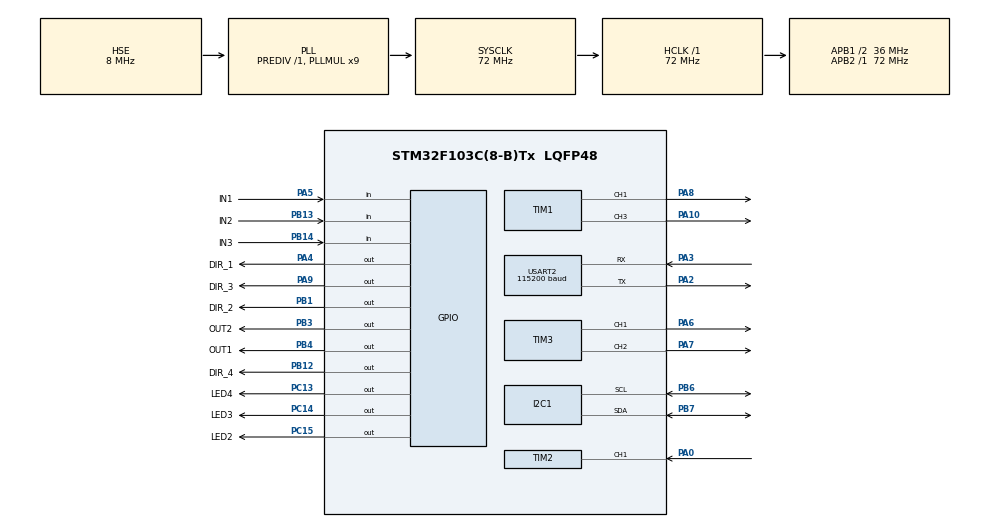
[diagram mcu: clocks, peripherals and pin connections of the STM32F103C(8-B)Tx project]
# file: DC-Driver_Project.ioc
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Dma.Request0=TIM2_CH1
Dma.TIM2_CH1.0.Direction=DMA_PERIPH_TO_MEMORY
Dma.TIM2_CH1.0.Instance=DMA1_Channel5
Dma.TIM2_CH1.0.MemDataAlignment=DMA_MDATAALIGN_HALFWORD
Dma.TIM2_CH1.0.MemInc=DMA_MINC_ENABLE
Dma.TIM2_CH1.0.Mode=DMA_CIRCULAR
Dma.TIM2_CH1.0.PeriphDataAlignment=DMA_PDATAALIGN_HALFWORD
Dma.TIM2_CH1.0.PeriphInc=DMA_PINC_DISABLE
Dma.TIM2_CH1.0.Priority=DMA_PRIORITY_LOW
FREERTOS.HEAP_NUMBER=4
FREERTOS.Tasks01=IOTask,24,128,StartIOTask,Default,NULL,Dynamic,NULL,NULL;UartTask,40,128,StartUartTask,Default,NULL,Dynamic,NULL,NULL;MotorTask,24,128,StartMotorTask,Default,NULL,Dynamic,NULL,NULL;VisibleTask,26,128,StartVisibleTask,Default,NULL,Dynamic,NULL,NULL;EncoderTask,8,128,StartEncoderTask,Default,NULL,Dynamic,NULL,NULL
FREERTOS.configTOTAL_HEAP_SIZE=4096
Mcu.Family=STM32F1
Mcu.Name=STM32F103C(8-B)Tx
Mcu.Package=LQFP48
NVIC.DMA1_Channel5_IRQn=true\:5\:0\:false\:false\:true\:true\:false\:true\:true
NVIC.I2C1_ER_IRQn=true\:5\:0\:false\:false\:true\:true\:true\:true\:true
NVIC.I2C1_EV_IRQn=true\:5\:0\:false\:false\:true\:true\:true\:true\:true
NVIC.PriorityGroup=NVIC_PRIORITYGROUP_4
NVIC.RCC_IRQn=true\:5\:0\:false\:false\:true\:true\:true\:false\:true
NVIC.TIM1_BRK_IRQn=true\:5\:0\:false\:false\:true\:true\:true\:true\:true
NVIC.TIM1_CC_IRQn=true\:5\:0\:false\:false\:true\:true\:true\:true\:true
NVIC.TIM1_UP_IRQn=true\:5\:0\:false\:false\:true\:true\:true\:true\:true
NVIC.TIM2_IRQn=true\:5\:0\:false\:false\:true\:true\:true\:true\:true
NVIC.TIM3_IRQn=true\:5\:0\:false\:false\:true\:true\:true\:true\:true
NVIC.USART2_IRQn=true\:5\:0\:false\:false\:true\:true\:true\:true\:true
PA0-WKUP.Signal=S_TIM2_CH1_ETR
PA10.Signal=S_TIM1_CH3
PA13.Mode=Serial_Wire
PA13.Signal=SYS_JTMS-SWDIO
PA14.Mode=Serial_Wire
PA14.Signal=SYS_JTCK-SWCLK
PA2.Mode=Asynchronous
PA2.Signal=USART2_TX
PA3.Mode=Asynchronous
PA3.Signal=USART2_RX
PA4.GPIO_Label=DIR_1
PA4.Signal=GPIO_Output
PA5.GPIO_Label=IN1
PA5.Signal=GPIO_Input
PA6.Signal=S_TIM3_CH1
PA7.Signal=S_TIM3_CH2
PA8.Signal=S_TIM1_CH1
PA9.GPIO_Label=DIR_3
PA9.Signal=GPIO_Output
PB1.GPIO_Label=DIR_2
PB1.Signal=GPIO_Output
PB12.GPIO_Label=DIR_4
PB12.Signal=GPIO_Output
PB13.GPIO_Label=IN2
PB13.Signal=GPIO_Input
PB14.GPIO_Label=IN3
PB14.Signal=GPIO_Input
PB3.GPIO_Label=OUT2
PB3.Signal=GPIO_Output
PB4.GPIO_Label=OUT1
PB4.Signal=GPIO_Output
PB6.Mode=I2C
PB6.Signal=I2C1_SCL
PB7.Mode=I2C
PB7.Signal=I2C1_SDA
PC13-TAMPER-RTC.GPIO_Label=LED4
PC13-TAMPER-RTC.Signal=GPIO_Output
PC14-OSC32_IN.GPIO_Label=LED3
PC14-OSC32_IN.Signal=GPIO_Output
PC15-OSC32_OUT.GPIO_Label=LED2
PC15-OSC32_OUT.Signal=GPIO_Output
PD0-OSC_IN.Mode=HSE-External-Oscillator
PD0-OSC_IN.Signal=RCC_OSC_IN
PD1-OSC_OUT.Mode=HSE-External-Oscillator
PD1-OSC_OUT.Signal=RCC_OSC_OUT
ProjectManager.HeapSize=0x200
ProjectManager.StackSize=0x400
ProjectManager.TargetToolchain=STM32CubeIDE
RCC.AHBFreq_Value=72000000
RCC.APB1CLKDivider=RCC_HCLK_DIV2
RCC.APB1Freq_Value=36000000
RCC.APB1TimFreq_Value=72000000
RCC.APB2Freq_Value=72000000
RCC.APB2TimFreq_Value=72000000
RCC.HCLKFreq_Value=72000000
RCC.PLLMUL=RCC_PLL_MUL9
RCC.PLLSourceVirtual=RCC_PLLSOURCE_HSE
RCC.SYSCLKFreq_VALUE=72000000
RCC.SYSCLKSource=RCC_SYSCLKSOURCE_PLLCLK
RCC.USBFreq_Value=72000000
SH.S_TIM1_CH1.0=TIM1_CH1,PWM Generation1 CH1
SH.S_TIM1_CH3.0=TIM1_CH3,PWM Generation3 CH3
SH.S_TIM2_CH1_ETR.0=TIM2_CH1,Input_Capture1_from_TI1
SH.S_TIM3_CH1.0=TIM3_CH1,PWM Generation1 CH1
SH.S_TIM3_CH2.0=TIM3_CH2,PWM Generation2 CH2
TIM1.Channel-PWM\ Generation1\ CH1=TIM_CHANNEL_1
TIM1.Channel-PWM\ Generation3\ CH3=TIM_CHANNEL_3
TIM2.Channel-Input_Capture1_from_TI1=TIM_CHANNEL_1
TIM2.CounterMode=TIM_COUNTERMODE_DOWN
TIM2.ICPolarity_CH1=TIM_INPUTCHANNELPOLARITY_FALLING
TIM3.Channel-PWM\ Generation1\ CH1=TIM_CHANNEL_1
TIM3.Channel-PWM\ Generation2\ CH2=TIM_CHANNEL_2
USART2.BaudRate=115200
USART2.VirtualMode=VM_ASYNC
VP_FREERTOS_VS_CMSIS_V2.Mode=CMSIS_V2
VP_TIM1_VS_ClockSourceINT.Mode=Internal
VP_TIM3_VS_ClockSourceINT.Mode=Internal
board=custom

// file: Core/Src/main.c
/* USER CODE BEGIN Header */
/**
  ******************************************************************************
  * @file           : main.c
  * @brief          : Main program body
  ******************************************************************************
  * @attention
  *
  * Copyright (c) 2025 STMicroelectronics.
  * All rights reserved.
  *
  * This software is licensed under terms that can be found in the LICENSE file
  * in the root directory of this software component.
  * If no LICENSE file comes with this software, it is provided AS-IS.
  *
  ******************************************************************************
  */
/* USER CODE END Header */
#include "main.h"
#include "cmsis_os.h"

/* USER CODE BEGIN Includes */
#include <string.h>
#include <math.h>
#include "UartModbus.h"
#include "MotorControl.h"
#include "DOutput.h"
#include "Encoder.h"
#include "ModbusMap.h"

/* USER CODE END Includes */

I2C_HandleTypeDef hi2c1;

TIM_HandleTypeDef htim1;
TIM_HandleTypeDef htim2;
TIM_HandleTypeDef htim3;
DMA_HandleTypeDef hdma_tim2_ch1;

UART_HandleTypeDef huart2;

uint8_t current_baudrate = DEFAULT_CONFIG_BAUDRATE;
/* Definitions for IOTask */
osThreadId_t IOTaskHandle;
const osThreadAttr_t IOTask_attributes = {
  .name = "IOTask",
  .stack_size = 128 * 4,
  .priority = (osPriority_t) osPriorityNormal,
};
/* Definitions for UartTask */
osThreadId_t UartTaskHandle;
const osThreadAttr_t UartTask_attributes = {
  .name = "UartTask",
  .stack_size = 128 * 4,
  .priority = (osPriority_t) osPriorityHigh,
};
/* D0efinitions for MotorTask */
osThreadId_t MotorTaskHandle;
const osThreadAttr_t MotorTask_attributes = {
  .name = "MotorTask",
  .stack_size = 128 * 4,
  .priority = (osPriority_t) osPriorityNormal,
};
/* Definitions for VisibleTask */
osThreadId_t VisibleTaskHandle;
const osThreadAttr_t VisibleTask_attributes = {
  .name = "VisibleTask",
  .stack_size = 128 * 4,
  .priority = (osPriority_t) osPriorityNormal2,
};
/* Definitions for EncoderTask */
osThreadId_t EncoderTaskHandle;
const osThreadAttr_t EncoderTask_attributes = {
  .name = "EncoderTask",
  .stack_size = 128 * 4,
  .priority = (osPriority_t) osPriorityLow,
};
/* USER CODE BEGIN PV */
// Modbus register arrays

/* USER CODE END PV */

void SystemClock_Config(void);
static void MX_GPIO_Init(void);
static void MX_DMA_Init(void);
static void MX_I2C1_Init(void);
static void MX_TIM2_Init(void);
static void MX_USART2_UART_Init(void);
static void MX_TIM1_Init(void);
static void MX_TIM3_Init(void);
void StartIOTask(void *argument);
void StartUartTask(void *argument);
void StartMotorTask(void *argument);
void StartVisibleTask(void *argument);
void StartEncoderTask(void *argument);

int main(void)
{

  /* MCU Configuration--------------------------------------------------------*/

  /* Reset of all peripherals, Initializes the Flash interface and the Systick. */
  HAL_Init();

  /* Configure the system clock */
  SystemClock_Config();

  /* Initialize all configured peripherals */
  MX_GPIO_Init();
  MX_DMA_Init();
  MX_I2C1_Init();
  MX_TIM2_Init();
  MX_USART2_UART_Init();
  MX_TIM1_Init();
  MX_TIM3_Init();
  /* USER CODE BEGIN 2 */

  // Start PWM timers for motor control
  // HAL_TIM_PWM_Start(&htim1, TIM_CHANNEL_1); // Motor 1 PWM
  // HAL_TIM_PWM_Start(&htim1, TIM_CHANNEL_3);
  //HAL_TIM_PWM_Start(&htim3, TIM_CHANNEL_1);
  // Initialize global variables
  // g_totalReceived = 0;
  // g_corruptionCount = 0;
  // g_receivedIndex = 0;

  // Initialize Modbus registers
  initializeModbusRegisters();

  Encoder_Init();
  // Khởi tạo buffer (KHÔNG bật UART IT trước khi RTOS start)
  // memset(rxBuffer, 0, RX_BUFFER_SIZE);
  // rxIndex = 0;
  // frameReceived = 0;
  /* USER CODE END 2 */

  /* Init scheduler */
  osKernelInitialize();

  /* USER CODE BEGIN RTOS_MUTEX */
  /* add mutexes, ... */
  // Tạo mutex để bảo vệ UART TX
  const osMutexAttr_t modbusTxMutex_attributes = {
    .name = "modbusTxMutex"
  };
  modbusTxMutex = osMutexNew(&modbusTxMutex_attributes);
  /* USER CODE END RTOS_MUTEX */

  /* Create the thread(s) */
  /* creation of IOTask */
  IOTaskHandle = osThreadNew(StartIOTask, NULL, &IOTask_attributes);

  /* creation of UartTask */
  UartTaskHandle = osThreadNew(StartUartTask, NULL, &UartTask_attributes);

  /* creation of MotorTask */
  MotorTaskHandle = osThreadNew(StartMotorTask, NULL, &MotorTask_attributes);

  /* creation of VisibleTask */
  VisibleTaskHandle = osThreadNew(StartVisibleTask, NULL, &VisibleTask_attributes);

  /* creation of EncoderTask */
  EncoderTaskHandle = osThreadNew(StartEncoderTask, NULL, &EncoderTask_attributes);

  /* Start scheduler */
  osKernelStart();

  /* We should never get here as control is now taken by the scheduler */

  /* Infinite loop */
  while (1)
  {

  }
}

void SystemClock_Config(void)
{
  RCC_OscInitTypeDef RCC_OscInitStruct = {0};
  RCC_ClkInitTypeDef RCC_ClkInitStruct = {0};

  /** Initializes the RCC Oscillators according to the specified parameters
  * in the RCC_OscInitTypeDef structure.
  */
  RCC_OscInitStruct.OscillatorType = RCC_OSCILLATORTYPE_HSE;
  RCC_OscInitStruct.HSEState = RCC_HSE_ON;
  RCC_OscInitStruct.HSEPredivValue = RCC_HSE_PREDIV_DIV1;
  RCC_OscInitStruct.HSIState = RCC_HSI_ON;
  RCC_OscInitStruct.PLL.PLLState = RCC_PLL_ON;
  RCC_OscInitStruct.PLL.PLLSource = RCC_PLLSOURCE_HSE;
  RCC_OscInitStruct.PLL.PLLMUL = RCC_PLL_MUL9;
  if (HAL_RCC_OscConfig(&RCC_OscInitStruct) != HAL_OK)
  {
    Error_Handler();
  }

  /** Initializes the CPU, AHB and APB buses clocks
  */
  RCC_ClkInitStruct.ClockType = RCC_CLOCKTYPE_HCLK|RCC_CLOCKTYPE_SYSCLK
                              |RCC_CLOCKTYPE_PCLK1|RCC_CLOCKTYPE_PCLK2;
  RCC_ClkInitStruct.SYSCLKSource = RCC_SYSCLKSOURCE_PLLCLK;
  RCC_ClkInitStruct.AHBCLKDivider = RCC_SYSCLK_DIV1;
  RCC_ClkInitStruct.APB1CLKDivider = RCC_HCLK_DIV2;
  RCC_ClkInitStruct.APB2CLKDivider = RCC_HCLK_DIV1;

  if (HAL_RCC_ClockConfig(&RCC_ClkInitStruct, FLASH_LATENCY_2) != HAL_OK)
  {
    Error_Handler();
  }
}

static void MX_I2C1_Init(void)
{

  hi2c1.Instance = I2C1;
  hi2c1.Init.ClockSpeed = 100000;
  hi2c1.Init.DutyCycle = I2C_DUTYCYCLE_2;
  hi2c1.Init.OwnAddress1 = 0;
  hi2c1.Init.AddressingMode = I2C_ADDRESSINGMODE_7BIT;
  hi2c1.Init.DualAddressMode = I2C_DUALADDRESS_DISABLE;
  hi2c1.Init.OwnAddress2 = 0;
  hi2c1.Init.GeneralCallMode = I2C_GENERALCALL_DISABLE;
  hi2c1.Init.NoStretchMode = I2C_NOSTRETCH_DISABLE;
  if (HAL_I2C_Init(&hi2c1) != HAL_OK)
  {
    Error_Handler();
  }

}

static void MX_TIM1_Init(void)
{

  TIM_ClockConfigTypeDef sClockSourceConfig = {0};
  TIM_MasterConfigTypeDef sMasterConfig = {0};
  TIM_OC_InitTypeDef sConfigOC = {0};
  TIM_BreakDeadTimeConfigTypeDef sBreakDeadTimeConfig = {0};

  htim1.Instance = TIM1;
  htim1.Init.Prescaler = 0;
  htim1.Init.CounterMode = TIM_COUNTERMODE_UP;
  htim1.Init.Period = 65535;
  htim1.Init.ClockDivision = TIM_CLOCKDIVISION_DIV1;
  htim1.Init.RepetitionCounter = 0;
  htim1.Init.AutoReloadPreload = TIM_AUTORELOAD_PRELOAD_DISABLE;
  if (HAL_TIM_Base_Init(&htim1) != HAL_OK)
  {
    Error_Handler();
  }
  sClockSourceConfig.ClockSource = TIM_CLOCKSOURCE_INTERNAL;
  if (HAL_TIM_ConfigClockSource(&htim1, &sClockSourceConfig) != HAL_OK)
  {
    Error_Handler();
  }
  if (HAL_TIM_PWM_Init(&htim1) != HAL_OK)
  {
    Error_Handler();
  }
  sMasterConfig.MasterOutputTrigger = TIM_TRGO_RESET;
  sMasterConfig.MasterSlaveMode = TIM_MASTERSLAVEMODE_DISABLE;
  if (HAL_TIMEx_MasterConfigSynchronization(&htim1, &sMasterConfig) != HAL_OK)
  {
    Error_Handler();
  }
  sConfigOC.OCMode = TIM_OCMODE_PWM1;
  sConfigOC.Pulse = 0;
  sConfigOC.OCPolarity = TIM_OCPOLARITY_HIGH;
  sConfigOC.OCNPolarity = TIM_OCNPOLARITY_HIGH;
  sConfigOC.OCFastMode = TIM_OCFAST_DISABLE;
  sConfigOC.OCIdleState = TIM_OCIDLESTATE_RESET;
  sConfigOC.OCNIdleState = TIM_OCNIDLESTATE_RESET;
  if (HAL_TIM_PWM_ConfigChannel(&htim1, &sConfigOC, TIM_CHANNEL_1) != HAL_OK)
  {
    Error_Handler();
  }
  if (HAL_TIM_PWM_ConfigChannel(&htim1, &sConfigOC, TIM_CHANNEL_3) != HAL_OK)
  {
    Error_Handler();
  }
  sBreakDeadTimeConfig.OffStateRunMode = TIM_OSSR_DISABLE;
  sBreakDeadTimeConfig.OffStateIDLEMode = TIM_OSSI_DISABLE;
  sBreakDeadTimeConfig.LockLevel = TIM_LOCKLEVEL_OFF;
  sBreakDeadTimeConfig.DeadTime = 0;
  sBreakDeadTimeConfig.BreakState = TIM_BREAK_DISABLE;
  sBreakDeadTimeConfig.BreakPolarity = TIM_BREAKPOLARITY_HIGH;
  sBreakDeadTimeConfig.AutomaticOutput = TIM_AUTOMATICOUTPUT_DISABLE;
  if (HAL_TIMEx_ConfigBreakDeadTime(&htim1, &sBreakDeadTimeConfig) != HAL_OK)
  {
    Error_Handler();
  }
  HAL_TIM_MspPostInit(&htim1);

}

static void MX_TIM2_Init(void)
{

  TIM_MasterConfigTypeDef sMasterConfig = {0};
  TIM_IC_InitTypeDef sConfigIC = {0};

  htim2.Instance = TIM2;
  htim2.Init.Prescaler = 0;
  htim2.Init.CounterMode = TIM_COUNTERMODE_DOWN;
  htim2.Init.Period = 65535;
  htim2.Init.ClockDivision = TIM_CLOCKDIVISION_DIV1;
  htim2.Init.AutoReloadPreload = TIM_AUTORELOAD_PRELOAD_DISABLE;
  if (HAL_TIM_IC_Init(&htim2) != HAL_OK)
  {
    Error_Handler();
  }
  sMasterConfig.MasterOutputTrigger = TIM_TRGO_RESET;
  sMasterConfig.MasterSlaveMode = TIM_MASTERSLAVEMODE_DISABLE;
  if (HAL_TIMEx_MasterConfigSynchronization(&htim2, &sMasterConfig) != HAL_OK)
  {
    Error_Handler();
  }
  sConfigIC.ICPolarity = TIM_INPUTCHANNELPOLARITY_FALLING;
  sConfigIC.ICSelection = TIM_ICSELECTION_DIRECTTI;
  sConfigIC.ICPrescaler = TIM_ICPSC_DIV1;
  sConfigIC.ICFilter = 0;
  if (HAL_TIM_IC_ConfigChannel(&htim2, &sConfigIC, TIM_CHANNEL_1) != HAL_OK)
  {
    Error_Handler();
  }

}

static void MX_TIM3_Init(void)
{

  TIM_ClockConfigTypeDef sClockSourceConfig = {0};
  TIM_MasterConfigTypeDef sMasterConfig = {0};
  TIM_OC_InitTypeDef sConfigOC = {0};

  htim3.Instance = TIM3;
  htim3.Init.Prescaler = 0;
  htim3.Init.CounterMode = TIM_COUNTERMODE_UP;
  htim3.Init.Period = 65535;
  htim3.Init.ClockDivision = TIM_CLOCKDIVISION_DIV1;
  htim3.Init.AutoReloadPreload = TIM_AUTORELOAD_PRELOAD_DISABLE;
  if (HAL_TIM_Base_Init(&htim3) != HAL_OK)
  {
    Error_Handler();
  }
  sClockSourceConfig.ClockSource = TIM_CLOCKSOURCE_INTERNAL;
  if (HAL_TIM_ConfigClockSource(&htim3, &sClockSourceConfig) != HAL_OK)
  {
    Error_Handler();
  }
  if (HAL_TIM_PWM_Init(&htim3) != HAL_OK)
  {
    Error_Handler();
  }
  sMasterConfig.MasterOutputTrigger = TIM_TRGO_RESET;
  sMasterConfig.MasterSlaveMode = TIM_MASTERSLAVEMODE_DISABLE;
  if (HAL_TIMEx_MasterConfigSynchronization(&htim3, &sMasterConfig) != HAL_OK)
  {
    Error_Handler();
  }
  sConfigOC.OCMode = TIM_OCMODE_PWM1;
  sConfigOC.Pulse = 0;
  sConfigOC.OCPolarity = TIM_OCPOLARITY_HIGH;
  sConfigOC.OCFastMode = TIM_OCFAST_DISABLE;
  if (HAL_TIM_PWM_ConfigChannel(&htim3, &sConfigOC, TIM_CHANNEL_1) != HAL_OK)
  {
    Error_Handler();
  }
  if (HAL_TIM_PWM_ConfigChannel(&htim3, &sConfigOC, TIM_CHANNEL_2) != HAL_OK)
  {
    Error_Handler();
  }
  HAL_TIM_MspPostInit(&htim3);

}

static void MX_USART2_UART_Init(void)
{

  huart2.Instance = USART2;
  huart2.Init.BaudRate = 115200;
  huart2.Init.WordLength = UART_WORDLENGTH_8B;
  huart2.Init.StopBits = UART_STOPBITS_1;
  huart2.Init.Parity = UART_PARITY_NONE;
  huart2.Init.Mode = UART_MODE_TX_RX;
  huart2.Init.HwFlowCtl = UART_HWCONTROL_NONE;
  huart2.Init.OverSampling = UART_OVERSAMPLING_16;
  if (HAL_UART_Init(&huart2) != HAL_OK)
  {
    Error_Handler();
  }

}

static void MX_DMA_Init(void)
{

  /* DMA controller clock enable */
  __HAL_RCC_DMA1_CLK_ENABLE();

  /* DMA interrupt init */
  /* DMA1_Channel5_IRQn interrupt configuration */
  HAL_NVIC_SetPriority(DMA1_Channel5_IRQn, 5, 0);
  HAL_NVIC_EnableIRQ(DMA1_Channel5_IRQn);

}

static void MX_GPIO_Init(void)
{
  GPIO_InitTypeDef GPIO_InitStruct = {0};

  /* GPIO Ports Clock Enable */
  __HAL_RCC_GPIOC_CLK_ENABLE();
  __HAL_RCC_GPIOD_CLK_ENABLE();
  __HAL_RCC_GPIOA_CLK_ENABLE();
  __HAL_RCC_GPIOB_CLK_ENABLE();

  /*Configure GPIO pin Output Level */
  HAL_GPIO_WritePin(GPIOC, LED4_Pin|LED3_Pin|LED2_Pin, GPIO_PIN_RESET);

  /*Configure GPIO pin Output Level */
  HAL_GPIO_WritePin(GPIOA, DIR_1_Pin|DIR_3_Pin, GPIO_PIN_RESET);

  /*Configure GPIO pin Output Level */
  HAL_GPIO_WritePin(GPIOB, DIR_2_Pin|DIR_4_Pin|OUT2_Pin|OUT1_Pin, GPIO_PIN_RESET);

  /*Configure GPIO pins : LED4_Pin LED3_Pin LED2_Pin */
  GPIO_InitStruct.Pin = LED4_Pin|LED3_Pin|LED2_Pin;
  GPIO_InitStruct.Mode = GPIO_MODE_OUTPUT_PP;
  GPIO_InitStruct.Pull = GPIO_NOPULL;
  GPIO_InitStruct.Speed = GPIO_SPEED_FREQ_LOW;
  HAL_GPIO_Init(GPIOC, &GPIO_InitStruct);

  /*Configure GPIO pins : DIR_1_Pin DIR_3_Pin */
  GPIO_InitStruct.Pin = DIR_1_Pin|DIR_3_Pin;
  GPIO_InitStruct.Mode = GPIO_MODE_OUTPUT_PP;
  GPIO_InitStruct.Pull = GPIO_NOPULL;
  GPIO_InitStruct.Speed = GPIO_SPEED_FREQ_LOW;
  HAL_GPIO_Init(GPIOA, &GPIO_InitStruct);

  /*Configure GPIO pin : IN1_Pin */
  GPIO_InitStruct.Pin = IN1_Pin;
  GPIO_InitStruct.Mode = GPIO_MODE_INPUT;
  GPIO_InitStruct.Pull = GPIO_NOPULL;
  HAL_GPIO_Init(IN1_GPIO_Port, &GPIO_InitStruct);

  /*Configure GPIO pins : DIR_2_Pin DIR_4_Pin OUT2_Pin OUT1_Pin */
  GPIO_InitStruct.Pin = DIR_2_Pin|DIR_4_Pin|OUT2_Pin|OUT1_Pin;
  GPIO_InitStruct.Mode = GPIO_MODE_OUTPUT_PP;
  GPIO_InitStruct.Pull = GPIO_NOPULL;
  GPIO_InitStruct.Speed = GPIO_SPEED_FREQ_LOW;
  HAL_GPIO_Init(GPIOB, &GPIO_InitStruct);

  /*Configure GPIO pins : IN2_Pin IN3_Pin */
  GPIO_InitStruct.Pin = IN2_Pin|IN3_Pin;
  GPIO_InitStruct.Mode = GPIO_MODE_INPUT;
  GPIO_InitStruct.Pull = GPIO_NOPULL;
  HAL_GPIO_Init(GPIOB, &GPIO_InitStruct);

}

void StartIOTask(void *argument)
{
  /* USER CODE BEGIN 5 */
  uint32_t previousTick = osKernelGetTickCount();
  for(;;)
  {
    DOutput_Load(&doutput_state);
    DOutput_Process(&doutput_state);
    DOutput_Save(&doutput_state);
    g_taskCounter++;

    // Update input registers periodically (simulate sensor data)
    g_inputRegisters[0] = g_taskCounter;
    g_inputRegisters[1] = HAL_GetTick() & 0xFFFF;
    // Read_ACS712();

    osDelayUntil(previousTick += 500); // 1 second delay
  }
  /* USER CODE END 5 */
}

void StartUartTask(void *argument)
{
  /* USER CODE BEGIN StartUartTask */
  /* Infinite loop */
	startModbusUARTReception();

  // Tính toán thời gian timeout dựa trên baudrate
  uint32_t charTime = (11 * 1000) / huart2.Init.BaudRate; // 11 bit per char (8N1 + start/stop)
  uint32_t frameTimeout = charTime * 4; // 3.5 char time for Modbus RTU
  uint32_t previousTick = osKernelGetTickCount();
  if (frameTimeout < 5) frameTimeout = 5; // Tối thiểu 5ms

  /* Infinite loop */
  for(;;) {

	g_modbusCounter++;

	// Xử lý frame đã nhận đủ
	if (frameReceived) {
		processModbusFrame();
	}

	// Kiểm tra timeout cho frame chưa hoàn chỉnh
	// Nếu có dữ liệu trong buffer nhưng chưa đủ frame và đã timeout
	if (!frameReceived && rxIndex > 0 && (HAL_GetTick() - g_lastUARTActivity > frameTimeout)) {
		// Frame không hoàn chỉnh và đã timeout - bỏ qua và reset
		rxIndex = 0;
		frameReceived = 0;
		g_corruptionCount++;
	}

	// Kiểm tra sức khỏe UART định kỳ
	checkUARTHealth();

	// Delay 1ms
	osDelayUntil(previousTick += 10);
  }
  /* USER CODE END StartUartTask */
}

void StartMotorTask(void *argument)
{
  /* USER CODE BEGIN StartMotorTask */
  /* Infinite loop */
  uint32_t previousTick = osKernelGetTickCount();
  const uint16_t M1_BASE_ADDR = 0x0000;
  const uint16_t M2_BASE_ADDR = 0x0010;
  const uint16_t SYS_BASE_ADDR = 0x0100;
  PID_Init(1, DEFAULT_PID_KP, DEFAULT_PID_KI, DEFAULT_PID_KD); // Motor 1
  PID_Init(2, DEFAULT_PID_KP, DEFAULT_PID_KI, DEFAULT_PID_KD); // Motor 2

  // Initialize PID controllers with default values

  // Vòng lặp RTOS
  for (;;)
  {
	  // 1. Load dữ liệu từ Modbus registers
	  MotorRegisters_Load(&motor1, M1_BASE_ADDR);
	  MotorRegisters_Load(&motor2, M2_BASE_ADDR);
	  SystemRegisters_Load(&system);
	  if(system.Reset_Error_Command == 1){
		System_ResetSystem();
	  }
	  updateBaudrate();
	  // 2. Xử lý logic điều khiển motor 1
	  Motor_ProcessControl(&motor1);

	  // 3. Xử lý logic điều khiển motor 2
	  Motor_ProcessControl(&motor2);

	  // 4. Save lại dữ liệu ngược ra Modbus registers
	  MotorRegisters_Save(&motor1, M1_BASE_ADDR);
	  MotorRegisters_Save(&motor2, M2_BASE_ADDR);
	  SystemRegisters_Save(&system);

	  // 5. Delay theo chu kỳ task (ví dụ 10ms)
	  osDelayUntil(previousTick += 30);
  }
  /* USER CODE END StartMotorTask */
}

void StartVisibleTask(void *argument)
{
  /* USER CODE BEGIN StartVisibleTask */
  uint32_t previousTick = osKernelGetTickCount();
  for(;;)
  {
    HAL_GPIO_TogglePin(LED2_GPIO_Port, LED2_Pin);

    if(g_ledIndicator == 1)
    {
      HAL_GPIO_TogglePin(LED3_GPIO_Port, LED3_Pin);
      g_ledIndicator = 0;  // Reset sau khi nháy
    }
    osDelayUntil(previousTick += 250);
  }
  /* USER CODE END StartVisibleTask */
}

void StartEncoderTask(void *argument)
{
  /* USER CODE BEGIN StartEncoderTask */
  /* Infinite loop */
  uint32_t previousTick = osKernelGetTickCount();
  for(;;)
  {
    Encoder_Load(&encoder1);
    Encoder_Process(&encoder1);
    Encoder_Save(&encoder1);
    osDelayUntil(previousTick += 10);
  }
  /* USER CODE END StartEncoderTask */
}

void Error_Handler(void)
{
  __disable_irq();
  while (1)
  {
  }
}
